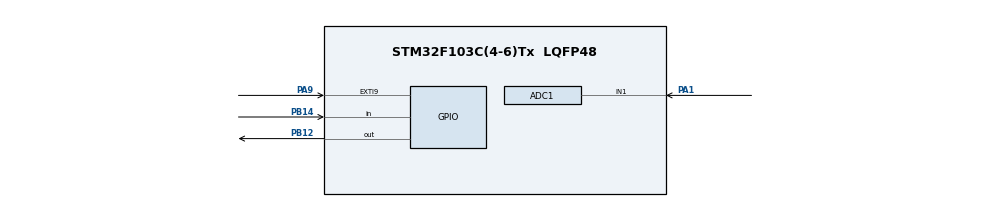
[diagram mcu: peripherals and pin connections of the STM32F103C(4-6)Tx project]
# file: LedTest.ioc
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ADC1.Channel-24\#ChannelRegularConversion=ADC_CHANNEL_1
ADC1.NbrOfConversion=1
ADC1.NbrOfConversionFlag=1
ADC1.Rank-24\#ChannelRegularConversion=1
ADC1.SamplingTime-24\#ChannelRegularConversion=ADC_SAMPLETIME_7CYCLES_5
ADC1.master=1
Mcu.Family=STM32F1
Mcu.Name=STM32F103C(4-6)Tx
Mcu.Package=LQFP48
NVIC.EXTI9_5_IRQn=true\:0\:0\:false\:false\:true\:true\:true
NVIC.PriorityGroup=NVIC_PRIORITYGROUP_4
PA1.Signal=ADCx_IN1
PA13.Mode=Trace_Asynchronous_SW
PA13.Signal=SYS_JTMS-SWDIO
PA14.Mode=Trace_Asynchronous_SW
PA14.Signal=SYS_JTCK-SWCLK
PA9.GPIO_ModeDefaultEXTI=GPIO_MODE_IT_RISING
PA9.GPIO_PuPd=GPIO_PULLDOWN
PA9.Signal=GPXTI9
PB12.Signal=GPIO_Output
PB14.GPIO_PuPd=GPIO_PULLDOWN
PB14.Signal=GPIO_Input
PB3.Mode=Trace_Asynchronous_SW
PB3.Signal=SYS_JTDO-TRACESWO
ProjectManager.HeapSize=0x200
ProjectManager.StackSize=0x400
ProjectManager.TargetToolchain=STM32CubeIDE
RCC.APB1Freq_Value=8000000
RCC.APB2Freq_Value=8000000
SH.ADCx_IN1.0=ADC1_IN1,IN1
board=custom

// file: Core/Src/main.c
/* USER CODE BEGIN Header */
/**
  ******************************************************************************
  * @file           : main.c
  * @brief          : Main program body
  ******************************************************************************
  * @attention
  *
  * <h2><center>&copy; Copyright (c) 2021 STMicroelectronics.
  * All rights reserved.</center></h2>
  *
  * This software component is licensed by ST under BSD 3-Clause license,
  * the "License"; You may not use this file except in compliance with the
  * License. You may obtain a copy of the License at:
  *                        opensource.org/licenses/BSD-3-Clause
  *
  ******************************************************************************
  */
/* USER CODE END Header */
#include "main.h"
#include "adc.h"
#include "gpio.h"

void SystemClock_Config(void);

/* USER CODE BEGIN 0 */

int LedFlash = 0;

//External Interruption callback -Kelvin
void HAL_GPIO_EXTI_Callback(uint16_t GPIO_pin)
{
	if (GPIO_pin == GPIO_PIN_9 )
	{
		  //GPIO_PinState ping9State = HAL_GPIO_ReadPin(GPIOB, GPIO_PIN_9);
		  //HAL_GPIO_WritePin(GPIOB, GPIO_PIN_12, ping9State);
		  if (LedFlash == 0)
		  {
			  LedFlash = 1;
		  }
		  else
		  {
			  LedFlash = 0;
		  }

	}
}
/* USER CODE END 0 */

int main(void)
{

  /* MCU Configuration--------------------------------------------------------*/

  /* Reset of all peripherals, Initializes the Flash interface and the Systick. */
  HAL_Init();

  /* Configure the system clock */
  SystemClock_Config();

  /* Initialize all configured peripherals */
  MX_GPIO_Init();
  MX_ADC1_Init();
  /* USER CODE BEGIN 2 */

  //ADC voltage.
  uint16_t value[8] = {0 };
  float votage[8] = {0 };
//  for (int i = 0; i < 8; i++)
//  {
//	  HAL_ADC_Start(&hadc1);
//	  HAL_ADC_PollForConversion(&hadc1, 50);
//	  value [i] = HAL_ADC_GetValue(&hadc1);
//	  votage [i] = 3.3 * value [i] / 4096;
//
//  }

  /* USER CODE END 2 */

  /* Infinite loop */
  /* USER CODE BEGIN WHILE */
  while (1)
  {
	  HAL_Delay(1000 );

	  for (int i = 0; i < 8; i++)
	  {
		  HAL_ADC_Start(&hadc1);
		  HAL_ADC_PollForConversion(&hadc1, 50);
		  value [i] = HAL_ADC_GetValue(&hadc1);
		  votage [i] = 3.3 * value [i] / 4096;
	  }

	  /*
	  GPIO_PinState ping14State = HAL_GPIO_ReadPin(GPIOB, GPIO_PIN_14);
	  if ( ping14State == GPIO_PIN_SET)
	  {
		  HAL_GPIO_TogglePin(GPIOB, GPIO_PIN_12);
		  //HAL_GPIO_WritePin(GPIOB, GPIO_PIN_12, GPIO_PIN_SET);
	  }
	  else
	  {
		  HAL_GPIO_WritePin(GPIOB, GPIO_PIN_12, GPIO_PIN_RESET);
	  }
	  */

	  if (LedFlash == 1)
	  {
		  HAL_GPIO_TogglePin(GPIOB, GPIO_PIN_12);
	  }

	  //HAL_GPIO_TogglePin(GPIOB, GPIO_PIN_12);

    /* USER CODE END WHILE */

  }
}

void SystemClock_Config(void)
{
  RCC_OscInitTypeDef RCC_OscInitStruct = {0};
  RCC_ClkInitTypeDef RCC_ClkInitStruct = {0};
  RCC_PeriphCLKInitTypeDef PeriphClkInit = {0};

  /** Initializes the RCC Oscillators according to the specified parameters
  * in the RCC_OscInitTypeDef structure.
  */
  RCC_OscInitStruct.OscillatorType = RCC_OSCILLATORTYPE_HSI;
  RCC_OscInitStruct.HSIState = RCC_HSI_ON;
  RCC_OscInitStruct.HSICalibrationValue = RCC_HSICALIBRATION_DEFAULT;
  RCC_OscInitStruct.PLL.PLLState = RCC_PLL_NONE;
  if (HAL_RCC_OscConfig(&RCC_OscInitStruct) != HAL_OK)
  {
    Error_Handler();
  }
  /** Initializes the CPU, AHB and APB buses clocks
  */
  RCC_ClkInitStruct.ClockType = RCC_CLOCKTYPE_HCLK|RCC_CLOCKTYPE_SYSCLK
                              |RCC_CLOCKTYPE_PCLK1|RCC_CLOCKTYPE_PCLK2;
  RCC_ClkInitStruct.SYSCLKSource = RCC_SYSCLKSOURCE_HSI;
  RCC_ClkInitStruct.AHBCLKDivider = RCC_SYSCLK_DIV1;
  RCC_ClkInitStruct.APB1CLKDivider = RCC_HCLK_DIV1;
  RCC_ClkInitStruct.APB2CLKDivider = RCC_HCLK_DIV1;

  if (HAL_RCC_ClockConfig(&RCC_ClkInitStruct, FLASH_LATENCY_0) != HAL_OK)
  {
    Error_Handler();
  }
  PeriphClkInit.PeriphClockSelection = RCC_PERIPHCLK_ADC;
  PeriphClkInit.AdcClockSelection = RCC_ADCPCLK2_DIV2;
  if (HAL_RCCEx_PeriphCLKConfig(&PeriphClkInit) != HAL_OK)
  {
    Error_Handler();
  }
}

void Error_Handler(void)
{
  __disable_irq();
  while (1)
  {
  }
}

/************************ (C) COPYRIGHT STMicroelectronics *****END OF FILE****/
